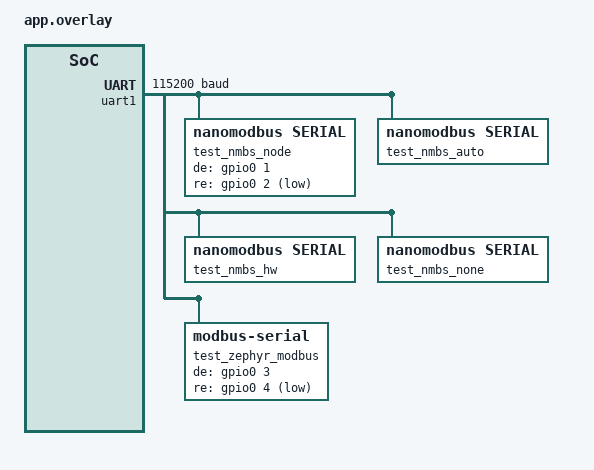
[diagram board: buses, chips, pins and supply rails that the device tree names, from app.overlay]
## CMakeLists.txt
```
cmake_minimum_required(VERSION 3.20.0)
find_package(Zephyr REQUIRED HINTS $ENV{ZEPHYR_BASE})
project(test_nanomodbus_baseline)

target_sources(app PRIVATE
    src/test_build_baseline.c
    src/test_error_mapping.c
    src/test_rs485_timing.c
    src/test_client_concurrency.c
    src/test_server_rtu.c
    src/test_server_tcp.c
    src/test_multi_instance.c
    src/test_nanomodbus_serial.c
    src/test_shell.c
)
```

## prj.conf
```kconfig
CONFIG_ZTEST=y
CONFIG_ZTEST_STACK_SIZE=4096
CONFIG_MAIN_STACK_SIZE=4096
CONFIG_NANOMODBUS=y
CONFIG_NANOMODBUS_CLIENT=y
CONFIG_NANOMODBUS_SERVER=y
CONFIG_NANOMODBUS_SERVER_RTU=y
CONFIG_NANOMODBUS_SERVER_TCP=y
CONFIG_NANOMODBUS_TRANSPORT_SERIAL=y
CONFIG_NANOMODBUS_TRANSPORT_TCP=y
CONFIG_SERIAL=y
CONFIG_GPIO=y
CONFIG_UART_USE_RUNTIME_CONFIGURE=y
CONFIG_UART_INTERRUPT_DRIVEN=y
CONFIG_SYS_CLOCK_TICKS_PER_SEC=10000

CONFIG_NETWORKING=y
CONFIG_NET_TEST=y
CONFIG_NET_DRIVERS=y
CONFIG_NET_LOOPBACK=y
CONFIG_NET_SOCKETS=y
CONFIG_NET_TCP=y
CONFIG_NET_IPV4=y
CONFIG_NET_CONTEXT_RCVTIMEO=y
CONFIG_NET_CONTEXT_SNDTIMEO=y
CONFIG_NET_MAX_CONTEXTS=10
CONFIG_NET_MAX_CONN=10
CONFIG_NET_PKT_RX_COUNT=16
CONFIG_NET_PKT_TX_COUNT=16
CONFIG_NET_BUF_RX_COUNT=64
CONFIG_NET_BUF_TX_COUNT=64
CONFIG_NET_TCP_TIME_WAIT_DELAY=500

CONFIG_SHELL=y
CONFIG_SHELL_BACKEND_DUMMY=y
CONFIG_NANOMODBUS_SHELL=y
CONFIG_NANOMODBUS_SHELL_CLIENT=y
CONFIG_NANOMODBUS_SHELL_SERVER=y
```

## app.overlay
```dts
/*
 * Copyright (c) 2026 nanoMODBUS Contributors
 * SPDX-License-Identifier: MIT
 */

/ {
	aliases {
		modbus-de = &led0;
	};
};

&uart1 {
	status = "okay";
	current-speed = <115200>;

	test_nmbs_node: modbus_test {
		compatible = "nanomodbus,serial";
		status = "okay";
		#address-cells = <1>;
		#size-cells = <0>;
		de-gpios = <&gpio0 1 GPIO_ACTIVE_HIGH>;
		re-gpios = <&gpio0 2 GPIO_ACTIVE_LOW>;
		de-pre-delay-us = <15>;
		de-post-delay-us = <25>;
		de-mode = "gpio";
		rx-mode = "external";
		current-speed = <57600>;

		test_slave_1: slave@1 {
			reg = <1>;
		};

		test_slave_42: slave@2a {
			reg = <0x2a>;
		};
	};

	test_nmbs_auto: modbus_auto {
		compatible = "nanomodbus,serial";
		status = "okay";
		#address-cells = <1>;
		#size-cells = <0>;
		de-mode = "auto";
		rx-mode = "auto";
	};

	test_nmbs_hw: modbus_hw {
		compatible = "nanomodbus,serial";
		status = "okay";
		de-mode = "hardware";
		rx-mode = "irq";
	};

	test_nmbs_none: modbus_none {
		compatible = "nanomodbus,serial";
		status = "okay";
		de-mode = "none";
		rx-mode = "async";
	};

	test_zephyr_modbus: modbus_z {
		compatible = "zephyr,modbus-serial";
		status = "okay";
		de-gpios = <&gpio0 3 GPIO_ACTIVE_HIGH>;
		re-gpios = <&gpio0 4 GPIO_ACTIVE_LOW>;
	};
};
```

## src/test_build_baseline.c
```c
#include <nanomodbus.h>
#include <zephyr/ztest.h>

ZTEST(nanomodbus_baseline, test_module_symbols_available) {
    zassert_true(IS_ENABLED(CONFIG_NANOMODBUS), "CONFIG_NANOMODBUS must be enabled");
    nmbs_error err = NMBS_ERROR_NONE;
    zassert_equal(err, 0, "NMBS_ERROR_NONE must evaluate to 0");
}

ZTEST_SUITE(nanomodbus_baseline, NULL, NULL, NULL, NULL, NULL);
```

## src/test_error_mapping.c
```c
/*
 * Copyright (c) 2026 nanoMODBUS Contributors
 * SPDX-License-Identifier: MIT
 */

#include <errno.h>
#include <nanomodbus.h>
#include <zephyr/nanomodbus/nanomodbus_z.h>
#include <zephyr/ztest.h>

ZTEST(nanomodbus_error, test_error_translation_matrix) {
    /* Success */
    zassert_equal(nmbs_z_error_to_errno(NMBS_ERROR_NONE), 0, "NMBS_ERROR_NONE -> 0");

    /* Internal errors mapped to negative POSIX errno */
    zassert_equal(nmbs_z_error_to_errno(NMBS_ERROR_INVALID_ARGUMENT), -EINVAL, "-1 -> -EINVAL");
    zassert_equal(nmbs_z_error_to_errno(NMBS_ERROR_INVALID_RESPONSE), -EBADMSG, "-2 -> -EBADMSG");
    zassert_equal(nmbs_z_error_to_errno(NMBS_ERROR_TIMEOUT), -ETIMEDOUT, "-3 -> -ETIMEDOUT");
    zassert_equal(nmbs_z_error_to_errno(NMBS_ERROR_TRANSPORT), -EIO, "-4 -> -EIO");
    zassert_equal(nmbs_z_error_to_errno(NMBS_ERROR_CRC), -EBADMSG, "-5 -> -EBADMSG");
    zassert_equal(nmbs_z_error_to_errno(NMBS_ERROR_INVALID_TCP_MBAP), -EPROTO, "-6 -> -EPROTO");
    zassert_equal(nmbs_z_error_to_errno(NMBS_ERROR_INVALID_UNIT_ID), -ENODEV, "-7 -> -ENODEV");
    zassert_equal(nmbs_z_error_to_errno(NMBS_ERROR_INVALID_REQUEST), -EINVAL, "-8 -> -EINVAL");

    /* Modbus Exceptions (positive values) */
    zassert_equal(nmbs_z_error_to_errno(NMBS_EXCEPTION_ILLEGAL_FUNCTION), -ENOSYS, "1 -> -ENOSYS");
    zassert_equal(nmbs_z_error_to_errno(NMBS_EXCEPTION_ILLEGAL_DATA_ADDRESS), -EFAULT, "2 -> -EFAULT");
    zassert_equal(nmbs_z_error_to_errno(NMBS_EXCEPTION_ILLEGAL_DATA_VALUE), -EDOM, "3 -> -EDOM");
    zassert_equal(nmbs_z_error_to_errno(NMBS_EXCEPTION_SERVER_DEVICE_FAILURE), -EIO, "4 -> -EIO");
    zassert_equal(nmbs_z_error_to_errno(NMBS_EXCEPTION_ACKNOWLEDGE), -EAGAIN, "5 -> -EAGAIN");
    zassert_equal(nmbs_z_error_to_errno(NMBS_EXCEPTION_SERVER_DEVICE_BUSY), -EBUSY, "6 -> -EBUSY");
    zassert_equal(nmbs_z_error_to_errno(NMBS_EXCEPTION_MEMORY_PARITY_ERROR), -EBADMSG, "8 -> -EBADMSG");
    zassert_equal(nmbs_z_error_to_errno(NMBS_EXCEPTION_GATEWAY_PATH_UNAVAILABLE), -ENETUNREACH, "10 -> -ENETUNREACH");
    zassert_equal(nmbs_z_error_to_errno(NMBS_EXCEPTION_GATEWAY_TARGET_DEVICE_FAILED_TO_RESPOND), -ETIMEDOUT,
                  "11 -> -ETIMEDOUT");

    /* Reverse mapping: POSIX errno -> nmbs_error */
    zassert_equal(nmbs_z_errno_to_error(0), NMBS_ERROR_NONE, "0 -> NMBS_ERROR_NONE");
    zassert_equal(nmbs_z_errno_to_error(-ENOSYS), NMBS_EXCEPTION_ILLEGAL_FUNCTION, "-ENOSYS -> 1");
    zassert_equal(nmbs_z_errno_to_error(-EFAULT), NMBS_EXCEPTION_ILLEGAL_DATA_ADDRESS, "-EFAULT -> 2");
    zassert_equal(nmbs_z_errno_to_error(-EDOM), NMBS_EXCEPTION_ILLEGAL_DATA_VALUE, "-EDOM -> 3");
    zassert_equal(nmbs_z_errno_to_error(-EIO), NMBS_EXCEPTION_SERVER_DEVICE_FAILURE, "-EIO -> 4");
    zassert_equal(nmbs_z_errno_to_error(-EAGAIN), NMBS_EXCEPTION_ACKNOWLEDGE, "-EAGAIN -> 5");
    zassert_equal(nmbs_z_errno_to_error(-EBUSY), NMBS_EXCEPTION_SERVER_DEVICE_BUSY, "-EBUSY -> 6");
    zassert_equal(nmbs_z_errno_to_error(-EBADMSG), NMBS_EXCEPTION_MEMORY_PARITY_ERROR, "-EBADMSG -> 8");
    zassert_equal(nmbs_z_errno_to_error(-ENETUNREACH), NMBS_EXCEPTION_GATEWAY_PATH_UNAVAILABLE, "-ENETUNREACH -> 10");
    zassert_equal(nmbs_z_errno_to_error(-ETIMEDOUT), NMBS_EXCEPTION_GATEWAY_TARGET_DEVICE_FAILED_TO_RESPOND,
                  "-ETIMEDOUT -> 11");

    /* Test alias errno_to_nmbs_error */
    zassert_equal(errno_to_nmbs_error(-EAGAIN), NMBS_EXCEPTION_ACKNOWLEDGE, "errno_to_nmbs_error -EAGAIN -> 5");
    zassert_equal(errno_to_nmbs_error(-EBUSY), NMBS_EXCEPTION_SERVER_DEVICE_BUSY, "errno_to_nmbs_error -EBUSY -> 6");
    zassert_equal(errno_to_nmbs_error(-EBADMSG), NMBS_EXCEPTION_MEMORY_PARITY_ERROR,
                  "errno_to_nmbs_error -EBADMSG -> 8");
    zassert_equal(errno_to_nmbs_error(-ENETUNREACH), NMBS_EXCEPTION_GATEWAY_PATH_UNAVAILABLE,
                  "errno_to_nmbs_error -ENETUNREACH -> 10");
    zassert_equal(errno_to_nmbs_error(-ETIMEDOUT), NMBS_EXCEPTION_GATEWAY_TARGET_DEVICE_FAILED_TO_RESPOND,
                  "errno_to_nmbs_error -ETIMEDOUT -> 11");

    /* Unknown code fallback */
    zassert_equal(nmbs_z_error_to_errno((nmbs_error) -999), -EPROTO, "unknown -> -EPROTO");
    zassert_equal(nmbs_z_error_to_errno((nmbs_error) 999), -EPROTO, "unknown positive -> -EPROTO");

    /* String representation */
    zassert_not_null(nmbs_z_strerror(NMBS_ERROR_NONE), "strerror must not be NULL");
    zassert_not_null(nmbs_z_strerror(NMBS_ERROR_INVALID_ARGUMENT), "strerror must not be NULL");
    zassert_not_null(nmbs_z_strerror(NMBS_ERROR_INVALID_RESPONSE), "strerror must not be NULL");
    zassert_not_null(nmbs_z_strerror(NMBS_ERROR_TIMEOUT), "strerror must not be NULL");
    zassert_not_null(nmbs_z_strerror(NMBS_ERROR_TRANSPORT), "strerror must not be NULL");
    zassert_not_null(nmbs_z_strerror(NMBS_ERROR_CRC), "strerror must not be NULL");
    zassert_not_null(nmbs_z_strerror(NMBS_ERROR_INVALID_TCP_MBAP), "strerror must not be NULL");
    zassert_not_null(nmbs_z_strerror(NMBS_ERROR_INVALID_UNIT_ID), "strerror must not be NULL");
    zassert_not_null(nmbs_z_strerror(NMBS_ERROR_INVALID_REQUEST), "strerror must not be NULL");
    zassert_not_null(nmbs_z_strerror(NMBS_EXCEPTION_ILLEGAL_FUNCTION), "strerror must not be NULL");
    zassert_not_null(nmbs_z_strerror(NMBS_EXCEPTION_ILLEGAL_DATA_ADDRESS), "strerror must not be NULL");
    zassert_not_null(nmbs_z_strerror(NMBS_EXCEPTION_ILLEGAL_DATA_VALUE), "strerror must not be NULL");
    zassert_not_null(nmbs_z_strerror(NMBS_EXCEPTION_SERVER_DEVICE_FAILURE), "strerror must not be NULL");
    zassert_not_null(nmbs_z_strerror(NMBS_EXCEPTION_ACKNOWLEDGE), "strerror must not be NULL");
    zassert_not_null(nmbs_z_strerror(NMBS_EXCEPTION_SERVER_DEVICE_BUSY), "strerror must not be NULL");
    zassert_not_null(nmbs_z_strerror(NMBS_EXCEPTION_MEMORY_PARITY_ERROR), "strerror must not be NULL");
    zassert_not_null(nmbs_z_strerror(NMBS_EXCEPTION_GATEWAY_PATH_UNAVAILABLE), "strerror must not be NULL");
    zassert_not_null(nmbs_z_strerror(NMBS_EXCEPTION_GATEWAY_TARGET_DEVICE_FAILED_TO_RESPOND),
                     "strerror must not be NULL");
    zassert_not_null(nmbs_z_strerror((nmbs_error) -999), "strerror must not be NULL");
}

ZTEST_SUITE(nanomodbus_error, NULL, NULL, NULL, NULL, NULL);
```

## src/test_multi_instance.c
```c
/*
 * Copyright (c) 2026 nanoMODBUS Contributors
 * SPDX-License-Identifier: MIT
 */

#include <string.h>
#include <zephyr/kernel.h>
#include <zephyr/nanomodbus/nanomodbus_z.h>
#include <zephyr/nanomodbus/nanomodbus_z_tcp.h>
#include <zephyr/net/socket.h>
#include <zephyr/ztest.h>

#define MULTI_INST_REGS_COUNT 16
#define NUM_OPS_PER_THREAD 25
#define TCP_PORT_MULTI 5025

/* Mock RTU Bus context for an isolated client */
typedef struct {
    struct k_mutex lock;
    uint8_t rx_buf[256];
    uint16_t rx_len;
    uint16_t rx_pos;
    uint16_t holding_regs[MULTI_INST_REGS_COUNT];
    uint32_t ops_count;
} mock_rtu_bus_t;

static void mock_bus_append_crc(uint8_t* buf, uint16_t len) {
    uint16_t crc = nmbs_crc_calc(buf, len, NULL);
    buf[len] = (uint8_t) ((crc >> 8) & 0xFF);
    buf[len + 1] = (uint8_t) (crc & 0xFF);
}

static int32_t mock_bus_read(uint8_t* buf, uint16_t count, int32_t byte_timeout_ms, void* arg) {
    ARG_UNUSED(byte_timeout_ms);
    mock_rtu_bus_t* bus = (mock_rtu_bus_t*) arg;

    k_mutex_lock(&bus->lock, K_FOREVER);
    if (bus->rx_pos + count > bus->rx_len) {
        k_mutex_unlock(&bus->lock);
        return 0;
    }

    memcpy(buf, &bus->rx_buf[bus->rx_pos], count);
    bus->rx_pos += count;
    k_mutex_unlock(&bus->lock);
    return count;
}

static int32_t mock_bus_write(const uint8_t* buf, uint16_t count, int32_t byte_timeout_ms, void* arg) {
    ARG_UNUSED(byte_timeout_ms);
    mock_rtu_bus_t* bus = (mock_rtu_bus_t*) arg;

    if (count < 4) {
        return count;
    }

    k_mutex_lock(&bus->lock, K_FOREVER);
    uint8_t unit_id = buf[0];
    uint8_t fc = buf[1];
    bus->rx_pos = 0;
    bus->rx_len = 0;

    if (fc == 0x03) { /* Read Holding Registers */
        uint16_t addr = ((uint16_t) buf[2] << 8) | buf[3];
        uint16_t qty = ((uint16_t) buf[4] << 8) | buf[5];
        uint8_t bytes = (uint8_t) (qty * 2);

        bus->rx_buf[0] = unit_id;
        bus->rx_buf[1] = 0x03;
        bus->rx_buf[2] = bytes;
        for (uint16_t i = 0; i < qty; i++) {
            uint16_t reg_val = 0;
            if (addr + i < MULTI_INST_REGS_COUNT) {
                reg_val = bus->holding_regs[addr + i];
            }
            bus->rx_buf[3 + 2 * i] = (uint8_t) ((reg_val >> 8) & 0xFF);
            bus->rx_buf[4 + 2 * i] = (uint8_t) (reg_val & 0xFF);
        }
        mock_bus_append_crc(bus->rx_buf, 3 + bytes);
        bus->rx_len = 3 + bytes + 2;
        bus->ops_count++;
    }
    else if (fc == 0x06) { /* Write Single Register */
        uint16_t addr = ((uint16_t) buf[2] << 8) | buf[3];
        uint16_t val = ((uint16_t) buf[4] << 8) | buf[5];
        if (addr < MULTI_INST_REGS_COUNT) {
            bus->holding_regs[addr] = val;
        }
        memcpy(bus->rx_buf, buf, 6);
        mock_bus_append_crc(bus->rx_buf, 6);
        bus->rx_len = 8;
        bus->ops_count++;
    }

    k_mutex_unlock(&bus->lock);
    k_yield();
    return count;
}

/* Modbus TCP Server state and callbacks */
static uint16_t tcp_server_holding_regs[MULTI_INST_REGS_COUNT];
static uint32_t tcp_server_ops_count;

static nmbs_error server_tcp_read_holding_registers(uint16_t address, uint16_t quantity, uint16_t* registers_out,
                                                    uint8_t unit_id, void* arg) {
    ARG_UNUSED(unit_id);
    ARG_UNUSED(arg);

    if (address + quantity > MULTI_INST_REGS_COUNT) {
        return NMBS_EXCEPTION_ILLEGAL_DATA_ADDRESS;
    }

    for (uint16_t i = 0; i < quantity; i++) {
        registers_out[i] = tcp_server_holding_regs[address + i];
    }
    tcp_server_ops_count++;
    return NMBS_ERROR_NONE;
}

static nmbs_error server_tcp_write_single_register(uint16_t address, uint16_t value, uint8_t unit_id, void* arg) {
    ARG_UNUSED(unit_id);
    ARG_UNUSED(arg);

    if (address >= MULTI_INST_REGS_COUNT) {
        return NMBS_EXCEPTION_ILLEGAL_DATA_ADDRESS;
    }

    tcp_server_holding_regs[address] = value;
    tcp_server_ops_count++;
    return NMBS_ERROR_NONE;
}

/* Multi-instance test contexts */
static mock_rtu_bus_t bus1;
static mock_rtu_bus_t bus2;
static nmbs_z_client_t client1;
static nmbs_z_client_t client2;
static nmbs_z_client_t client3;
static nmbs_z_tcp_transport_t transport3;
static nmbs_z_server_tcp_t server_tcp;

static struct k_sem start_sem;
static uint32_t thread_a_success;
static uint32_t thread_b_success;
static uint32_t thread_c_success;
static uint32_t thread_a_errors;
static uint32_t thread_b_errors;
static uint32_t thread_c_errors;

static K_THREAD_STACK_DEFINE(stack_a, 2048);
static K_THREAD_STACK_DEFINE(stack_b, 2048);
static K_THREAD_STACK_DEFINE(stack_c, 2048);
static struct k_thread thread_a;
static struct k_thread thread_b;
static struct k_thread thread_c;

static void thread_a_fn(void* arg1, void* arg2, void* arg3) {
    ARG_UNUSED(arg1);
    ARG_UNUSED(arg2);
    ARG_UNUSED(arg3);

    k_sem_take(&start_sem, K_FOREVER);

    for (int i = 0; i < NUM_OPS_PER_THREAD; i++) {
        uint16_t regs[2] = {0};
        int ret = nmbs_z_client_read_holding_registers(&client1, 0, 2, regs, K_MSEC(500));
        if (ret != 0) {
            thread_a_errors++;
            continue;
        }

        ret = nmbs_z_client_write_single_register(&client1, 0, (uint16_t) (1000 + i), K_MSEC(500));
        if (ret != 0) {
            thread_a_errors++;
            continue;
        }

        ret = nmbs_z_client_read_holding_registers(&client1, 0, 1, regs, K_MSEC(500));
        if (ret != 0 || regs[0] != (uint16_t) (1000 + i)) {
            thread_a_errors++;
            continue;
        }

        thread_a_success++;
        k_sleep(K_MSEC(1));
    }
}

static void thread_b_fn(void* arg1, void* arg2, void* arg3) {
    ARG_UNUSED(arg1);
    ARG_UNUSED(arg2);
    ARG_UNUSED(arg3);

    k_sem_take(&start_sem, K_FOREVER);

    for (int i = 0; i < NUM_OPS_PER_THREAD; i++) {
        uint16_t regs[2] = {0};
        int ret = nmbs_z_client_read_holding_registers(&client2, 0, 2, regs, K_MSEC(500));
        if (ret != 0) {
            thread_b_errors++;
            continue;
        }

        ret = nmbs_z_client_write_single_register(&client2, 0, (uint16_t) (2000 + i), K_MSEC(500));
        if (ret != 0) {
            thread_b_errors++;
            continue;
        }

        ret = nmbs_z_client_read_holding_registers(&client2, 0, 1, regs, K_MSEC(500));
        if (ret != 0 || regs[0] != (uint16_t) (2000 + i)) {
            thread_b_errors++;
            continue;
        }

        thread_b_success++;
        k_sleep(K_MSEC(1));
    }
}

static void thread_c_fn(void* arg1, void* arg2, void* arg3) {
    ARG_UNUSED(arg1);
    ARG_UNUSED(arg2);
    ARG_UNUSED(arg3);

    k_sem_take(&start_sem, K_FOREVER);

    for (int i = 0; i < NUM_OPS_PER_THREAD; i++) {
        uint16_t regs[2] = {0};
        int ret = nmbs_z_client_read_holding_registers(&client3, 0, 2, regs, K_MSEC(1000));
        if (ret != 0) {
            thread_c_errors++;
            continue;
        }

        ret = nmbs_z_client_write_single_register(&client3, 0, (uint16_t) (5000 + i), K_MSEC(1000));
        if (ret != 0) {
            thread_c_errors++;
            continue;
        }

        ret = nmbs_z_client_read_holding_registers(&client3, 0, 1, regs, K_MSEC(1000));
        if (ret != 0 || regs[0] != (uint16_t) (5000 + i)) {
            thread_c_errors++;
            continue;
        }

        thread_c_success++;
        k_sleep(K_MSEC(1));
    }
}

/* Concurrency & Multi-Instance Unit Test (Review Focus 5) */
ZTEST(nanomodbus_multi_instance, test_concurrent_multi_instances) {
    /* 1. Initialize Bus 1 and Client 1 */
    memset(&bus1, 0, sizeof(bus1));
    k_mutex_init(&bus1.lock);
    for (int i = 0; i < MULTI_INST_REGS_COUNT; i++) {
        bus1.holding_regs[i] = (uint16_t) (1000 + i);
    }

    nmbs_platform_conf plat1;
    nmbs_platform_conf_create(&plat1);
    plat1.transport = NMBS_TRANSPORT_RTU;
    plat1.read = mock_bus_read;
    plat1.write = mock_bus_write;
    plat1.arg = &bus1;

    int ret = nmbs_z_client_init(&client1, &plat1);
    zassert_equal(ret, 0, "Client 1 init failed: %d", ret);
    ret = nmbs_z_client_set_target_address(&client1, 1, K_MSEC(100));
    zassert_equal(ret, 0, "Client 1 set target address failed: %d", ret);

    /* 2. Initialize Bus 2 and Client 2 */
    memset(&bus2, 0, sizeof(bus2));
    k_mutex_init(&bus2.lock);
    for (int i = 0; i < MULTI_INST_REGS_COUNT; i++) {
        bus2.holding_regs[i] = (uint16_t) (2000 + i);
    }

    nmbs_platform_conf plat2;
    nmbs_platform_conf_create(&plat2);
    plat2.transport = NMBS_TRANSPORT_RTU;
    plat2.read = mock_bus_read;
    plat2.write = mock_bus_write;
    plat2.arg = &bus2;

    ret = nmbs_z_client_init(&client2, &plat2);
    zassert_equal(ret, 0, "Client 2 init failed: %d", ret);
    ret = nmbs_z_client_set_target_address(&client2, 2, K_MSEC(100));
    zassert_equal(ret, 0, "Client 2 set target address failed: %d", ret);

    /* 3. Initialize TCP Server on loopback port 5025 */
    memset(tcp_server_holding_regs, 0, sizeof(tcp_server_holding_regs));
    for (int i = 0; i < MULTI_INST_REGS_COUNT; i++) {
        tcp_server_holding_regs[i] = (uint16_t) (5000 + i);
    }
    tcp_server_ops_count = 0;

    nmbs_callbacks tcp_cbs = {0};
    tcp_cbs.read_holding_registers = server_tcp_read_holding_registers;
    tcp_cbs.write_single_register = server_tcp_write_single_register;

    ret = nmbs_z_server_tcp_start(&server_tcp, &tcp_cbs, TCP_PORT_MULTI);
    zassert_equal(ret, 0, "TCP Server start on %d failed: %d", TCP_PORT_MULTI, ret);

    /* 4. Connect TCP Client 3 to loopback server */
    nmbs_platform_conf plat3;
    ret = nmbs_z_tcp_transport_connect(&transport3, "127.0.0.1", TCP_PORT_MULTI, 2000, &plat3);
    zassert_equal(ret, 0, "TCP Client 3 connect failed: %d", ret);

    ret = nmbs_z_client_init(&client3, &plat3);
    zassert_equal(ret, 0, "Client 3 init failed: %d", ret);

    /* 5. Start all 3 threads simultaneously */
    thread_a_success = 0;
    thread_b_success = 0;
    thread_c_success = 0;
    thread_a_errors = 0;
    thread_b_errors = 0;
    thread_c_errors = 0;

    k_sem_init(&start_sem, 0, 3);

    k_thread_create(&thread_a, stack_a, K_THREAD_STACK_SIZEOF(stack_a), thread_a_fn, NULL, NULL, NULL, 5, 0, K_NO_WAIT);
    k_thread_create(&thread_b, stack_b, K_THREAD_STACK_SIZEOF(stack_b), thread_b_fn, NULL, NULL, NULL, 5, 0, K_NO_WAIT);
    k_thread_create(&thread_c, stack_c, K_THREAD_STACK_SIZEOF(stack_c), thread_c_fn, NULL, NULL, NULL, 5, 0, K_NO_WAIT);

    /* Release all threads to run concurrently */
    k_sem_give(&start_sem);
    k_sem_give(&start_sem);
    k_sem_give(&start_sem);

    /* Wait for all 3 threads to complete */
    k_thread_join(&thread_a, K_FOREVER);
    k_thread_join(&thread_b, K_FOREVER);
    k_thread_join(&thread_c, K_FOREVER);

    /* 6. Assertions: 100% success across all 3 instances */
    zassert_equal(thread_a_errors, 0, "Thread A had %u errors", thread_a_errors);
    zassert_equal(thread_a_success, NUM_OPS_PER_THREAD, "Thread A completed %u/%u ops", thread_a_success,
                  NUM_OPS_PER_THREAD);

    zassert_equal(thread_b_errors, 0, "Thread B had %u errors", thread_b_errors);
    zassert_equal(thread_b_success, NUM_OPS_PER_THREAD, "Thread B completed %u/%u ops", thread_b_success,
                  NUM_OPS_PER_THREAD);

    zassert_equal(thread_c_errors, 0, "Thread C had %u errors", thread_c_errors);
    zassert_equal(thread_c_success, NUM_OPS_PER_THREAD, "Thread C completed %u/%u ops", thread_c_success,
                  NUM_OPS_PER_THREAD);

    /* 7. Zero memory corruption and zero cross-contamination */
    /* Bus 1 holding registers: reg 0 written to 1000 + NUM_OPS - 1, regs 1..15 untouched */
    zassert_equal(bus1.holding_regs[0], (uint16_t) (1000 + NUM_OPS_PER_THREAD - 1), "Bus 1 corrupted: reg 0 is %u",
                  bus1.holding_regs[0]);
    for (int i = 1; i < MULTI_INST_REGS_COUNT; i++) {
        zassert_equal(bus1.holding_regs[i], (uint16_t) (1000 + i), "Bus 1 corrupted: reg %d is %u", i,
                      bus1.holding_regs[i]);
    }

    /* Bus 2 holding registers: reg 0 written to 2000 + NUM_OPS - 1, regs 1..15 untouched */
    zassert_equal(bus2.holding_regs[0], (uint16_t) (2000 + NUM_OPS_PER_THREAD - 1), "Bus 2 corrupted: reg 0 is %u",
                  bus2.holding_regs[0]);
    for (int i = 1; i < MULTI_INST_REGS_COUNT; i++) {
        zassert_equal(bus2.holding_regs[i], (uint16_t) (2000 + i), "Bus 2 corrupted: reg %d is %u", i,
                      bus2.holding_regs[i]);
    }

    /* TCP Server registers: reg 0 written to 5000 + NUM_OPS - 1, regs 1..15 untouched */
    zassert_equal(tcp_server_holding_regs[0], (uint16_t) (5000 + NUM_OPS_PER_THREAD - 1),
                  "TCP Server corrupted: reg 0 is %u", tcp_server_holding_regs[0]);
    for (int i = 1; i < MULTI_INST_REGS_COUNT; i++) {
        zassert_equal(tcp_server_holding_regs[i], (uint16_t) (5000 + i), "TCP Server corrupted: reg %d is %u", i,
                      tcp_server_holding_regs[i]);
    }

    /* Verify independent mutex states */
    zassert_equal(k_mutex_lock(&client1.lock, K_NO_WAIT), 0, "Client 1 lock not free");
    k_mutex_unlock(&client1.lock);

    zassert_equal(k_mutex_lock(&client2.lock, K_NO_WAIT), 0, "Client 2 lock not free");
    k_mutex_unlock(&client2.lock);

    zassert_equal(k_mutex_lock(&client3.lock, K_NO_WAIT), 0, "Client 3 lock not free");
    k_mutex_unlock(&client3.lock);

    /* 8. Clean shutdown */
    ret = nmbs_z_tcp_transport_close(&transport3);
    zassert_equal(ret, 0, "Transport 3 close failed: %d", ret);

    ret = nmbs_z_server_tcp_stop(&server_tcp);
    zassert_equal(ret, 0, "Server TCP stop failed: %d", ret);
}

ZTEST_SUITE(nanomodbus_multi_instance, NULL, NULL, NULL, NULL, NULL);
```

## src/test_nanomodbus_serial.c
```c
/*
 * Copyright (c) 2026 nanoMODBUS Contributors
 * SPDX-License-Identifier: MIT
 */

#include <errno.h>
#include <string.h>
#include <zephyr/drivers/gpio.h>
#include <zephyr/drivers/uart.h>
#include <zephyr/nanomodbus/nanomodbus_z_serial.h>
#include <zephyr/ztest.h>

/* State tracking for GPIO and UART mock */
static struct {
    int de_val;
    int re_val;
    uint32_t de_set_count;
    uint32_t re_set_count;
    uint32_t bytes_written;
    bool de_asserted_during_tx;
    bool re_disabled_during_tx;
    struct uart_config uart_cfg;
    uint32_t configure_calls;
    bool rx_enabled;
    uart_irq_callback_user_data_t irq_cb;
    void* irq_cb_user_data;
} mock_re_tracker;

static void reset_mock_re_tracker(void) {
    memset(&mock_re_tracker, 0, sizeof(mock_re_tracker));
    mock_re_tracker.de_asserted_during_tx = true;
    mock_re_tracker.re_disabled_during_tx = true;
    mock_re_tracker.uart_cfg.baudrate = 115200;
    mock_re_tracker.uart_cfg.parity = UART_CFG_PARITY_NONE;
    mock_re_tracker.uart_cfg.stop_bits = UART_CFG_STOP_BITS_1;
    mock_re_tracker.uart_cfg.data_bits = UART_CFG_DATA_BITS_8;
    mock_re_tracker.uart_cfg.flow_ctrl = UART_CFG_FLOW_CTRL_NONE;
}

static struct gpio_driver_config mock_re_gpio_cfg = {
        .port_pin_mask = (gpio_port_pins_t) 0xFFFFFFFF,
};
static struct gpio_driver_data mock_re_gpio_data = {
        .invert = 0,
};

static int mock_re_gpio_pin_configure(const struct device* port, gpio_pin_t pin, gpio_flags_t flags) {
    ARG_UNUSED(port);
    if (flags & GPIO_OUTPUT_INIT_HIGH) {
        if (pin == 1) {
            mock_re_tracker.de_val = 1;
        }
        else if (pin == 2) {
            mock_re_tracker.re_val = 1;
        }
    }
    else if (flags & GPIO_OUTPUT_INIT_LOW) {
        if (pin == 1) {
            mock_re_tracker.de_val = 0;
        }
        else if (pin == 2) {
            mock_re_tracker.re_val = 0;
        }
    }
    return 0;
}

static int mock_re_gpio_port_set_masked_raw(const struct device* port, gpio_port_pins_t mask, gpio_port_value_t value) {
    ARG_UNUSED(port);
    if (mask & BIT(1)) {
        mock_re_tracker.de_val = (value & BIT(1)) ? 1 : 0;
        mock_re_tracker.de_set_count++;
    }
    if (mask & BIT(2)) {
        mock_re_tracker.re_val = (value & BIT(2)) ? 1 : 0;
        mock_re_tracker.re_set_count++;
    }
    return 0;
}

static int mock_re_gpio_port_set_bits_raw(const struct device* port, gpio_port_pins_t pins) {
    return mock_re_gpio_port_set_masked_raw(port, pins, pins);
}

static int mock_re_gpio_port_clear_bits_raw(const struct device* port, gpio_port_pins_t pins) {
    return mock_re_gpio_port_set_masked_raw(port, pins, 0);
}

static DEVICE_API(gpio, mock_re_gpio_api) = {
        .pin_configure = mock_re_gpio_pin_configure,
        .port_set_masked_raw = mock_re_gpio_port_set_masked_raw,
        .port_set_bits_raw = mock_re_gpio_port_set_bits_raw,
        .port_clear_bits_raw = mock_re_gpio_port_clear_bits_raw,
};

static int mock_re_gpio_init(const struct device* dev) {
    ARG_UNUSED(dev);
    return 0;
}

DEVICE_DEFINE(mock_re_gpio_dev, "mock_re_gpio", mock_re_gpio_init, NULL, &mock_re_gpio_data, &mock_re_gpio_cfg,
              POST_KERNEL, CONFIG_KERNEL_INIT_PRIORITY_DEVICE, &mock_re_gpio_api);

static void mock_re_uart_poll_out(const struct device* dev, unsigned char out_char) {
    ARG_UNUSED(dev);
    ARG_UNUSED(out_char);
    if (mock_re_tracker.de_val != 1) {
        mock_re_tracker.de_asserted_during_tx = false;
    }
    if (mock_re_tracker.re_val != 0) {
        mock_re_tracker.re_disabled_during_tx = false;
    }
    mock_re_tracker.bytes_written++;
}

static int mock_re_uart_config_get(const struct device* dev, struct uart_config* cfg) {
    ARG_UNUSED(dev);
    *cfg = mock_re_tracker.uart_cfg;
    return 0;
}

static int mock_re_uart_configure(const struct device* dev, const struct uart_config* cfg) {
    ARG_UNUSED(dev);
    mock_re_tracker.uart_cfg = *cfg;
    mock_re_tracker.configure_calls++;
    return 0;
}

#if defined(CONFIG_UART_INTERRUPT_DRIVEN)
static void mock_re_uart_irq_callback_set(const struct device* dev, uart_irq_callback_user_data_t cb, void* user_data) {
    ARG_UNUSED(dev);
    mock_re_tracker.irq_cb = cb;
    mock_re_tracker.irq_cb_user_data = user_data;
}

static void mock_re_uart_irq_rx_enable(const struct device* dev) {
    ARG_UNUSED(dev);
    mock_re_tracker.rx_enabled = true;
}

static void mock_re_uart_irq_rx_disable(const struct device* dev) {
    ARG_UNUSED(dev);
    mock_re_tracker.rx_enabled = false;
}
#endif

static DEVICE_API(uart, mock_re_uart_api) = {
        .poll_out = mock_re_uart_poll_out,
        .config_get = mock_re_uart_config_get,
        .configure = mock_re_uart_configure,
#if defined(CONFIG_UART_INTERRUPT_DRIVEN)
        .irq_callback_set = mock_re_uart_irq_callback_set,
        .irq_rx_enable = mock_re_uart_irq_rx_enable,
        .irq_rx_disable = mock_re_uart_irq_rx_disable,
#endif
};

static int mock_re_uart_init(const struct device* dev) {
    ARG_UNUSED(dev);
    return 0;
}

DEVICE_DEFINE(mock_re_uart_dev, "mock_re_uart", mock_re_uart_init, NULL, NULL, NULL, POST_KERNEL,
              CONFIG_KERNEL_INIT_PRIORITY_DEVICE, &mock_re_uart_api);

/* Devicetree macro tests */

ZTEST(nanomodbus_serial, test_dt_config_nanomodbus_serial) {
    nmbs_z_serial_transport_config_t cfg = NMBS_Z_SERIAL_TRANSPORT_CONFIG_DT(DT_NODELABEL(test_nmbs_node));

    zassert_equal(cfg.uart_dev, DEVICE_DT_GET(DT_NODELABEL(uart1)), "UART device handle mismatch");
    zassert_equal(cfg.baud_rate, 57600, "Baud rate mismatch");
    zassert_equal(cfg.de_pre_delay_us, 15, "DE pre delay mismatch");
    zassert_equal(cfg.de_post_delay_us, 25, "DE post delay mismatch");
    zassert_equal(cfg.de_mode, NMBS_Z_SERIAL_DE_GPIO, "DE mode mismatch");
    zassert_equal(cfg.rx_mode, NMBS_Z_SERIAL_RX_EXTERNAL, "RX mode mismatch");
    zassert_equal(cfg.de_gpio.pin, 1, "DE GPIO pin mismatch");
    zassert_equal(cfg.re_gpio.pin, 2, "RE GPIO pin mismatch");
    zassert_equal(cfg.parity, UART_CFG_PARITY_NONE, "Parity mismatch");
    zassert_equal(cfg.stop_bits, UART_CFG_STOP_BITS_1, "Stop bits mismatch");
    zassert_equal(cfg.data_bits, UART_CFG_DATA_BITS_8, "Data bits mismatch");
    zassert_is_null(cfg.rx_cb, "rx_cb must be NULL");
}

ZTEST(nanomodbus_serial, test_dt_config_auto_and_defaults) {
    nmbs_z_serial_transport_config_t cfg = NMBS_Z_SERIAL_TRANSPORT_CONFIG_DT(DT_NODELABEL(test_nmbs_auto));

    zassert_equal(cfg.uart_dev, DEVICE_DT_GET(DT_NODELABEL(uart1)), "UART device handle mismatch");
    zassert_equal(cfg.baud_rate, 115200, "Baud rate inherited from parent UART mismatch");
    zassert_equal(cfg.de_mode, NMBS_Z_SERIAL_DE_AUTO, "DE mode must default to AUTO");
    zassert_equal(cfg.de_pre_delay_us, 0, "Default DE pre delay must be 0");
    zassert_equal(cfg.de_post_delay_us, 0, "Default DE post delay must be 0");
    zassert_is_null(cfg.de_gpio.port, "DE GPIO port must be NULL when not configured");
    zassert_is_null(cfg.re_gpio.port, "RE GPIO port must be NULL when not configured");
}

ZTEST(nanomodbus_serial, test_dt_config_enum_modes) {
    nmbs_z_serial_transport_config_t cfg_hw = NMBS_Z_SERIAL_TRANSPORT_CONFIG_DT(DT_NODELABEL(test_nmbs_hw));
    zassert_equal(cfg_hw.de_mode, NMBS_Z_SERIAL_DE_HARDWARE, "HARDWARE DE mode mismatch");
    zassert_equal(cfg_hw.rx_mode, NMBS_Z_SERIAL_RX_IRQ, "IRQ RX mode mismatch");

    nmbs_z_serial_transport_config_t cfg_none = NMBS_Z_SERIAL_TRANSPORT_CONFIG_DT(DT_NODELABEL(test_nmbs_none));
    zassert_equal(cfg_none.de_mode, NMBS_Z_SERIAL_DE_NONE, "NONE DE mode mismatch");
    zassert_equal(cfg_none.rx_mode, NMBS_Z_SERIAL_RX_ASYNC, "ASYNC RX mode mismatch");
}

ZTEST(nanomodbus_serial, test_dt_config_zephyr_modbus_compat) {
    nmbs_z_serial_transport_config_t cfg = NMBS_Z_SERIAL_TRANSPORT_CONFIG_DT(DT_NODELABEL(test_zephyr_modbus));

    zassert_equal(cfg.uart_dev, DEVICE_DT_GET(DT_NODELABEL(uart1)), "UART dev mismatch");
    zassert_equal(cfg.de_gpio.pin, 3, "zephyr,modbus-serial DE pin mismatch");
    zassert_equal(cfg.re_gpio.pin, 4, "zephyr,modbus-serial RE pin mismatch");
    zassert_equal(cfg.de_mode, NMBS_Z_SERIAL_DE_AUTO, "Default DE mode for zephyr,modbus-serial");
    zassert_equal(cfg.baud_rate, 115200, "Parent baud rate inherited");
}

ZTEST(nanomodbus_serial, test_dt_config_inst_macro) {
    nmbs_z_serial_transport_config_t cfg = NMBS_Z_SERIAL_TRANSPORT_CONFIG_DT_INST(0);
    zassert_not_null(cfg.uart_dev, "Instance 0 UART device handle must not be NULL");
}

ZTEST(nanomodbus_serial, test_dt_slave_id_macro) {
    uint8_t slave_1 = NMBS_Z_DT_SLAVE_ID(DT_NODELABEL(test_slave_1));
    zassert_equal(slave_1, 1, "Slave 1 ID mismatch");

    uint8_t slave_42 = NMBS_Z_DT_SLAVE_ID(DT_NODELABEL(test_slave_42));
    zassert_equal(slave_42, 0x2a, "Slave 42 ID mismatch");
}

/* Runtime RE GPIO control tests */

ZTEST(nanomodbus_serial, test_rs485_re_gpio_runtime_control) {
    reset_mock_re_tracker();

    nmbs_z_serial_transport_t transport;
    nmbs_z_serial_transport_config_t cfg = {
            .uart_dev = DEVICE_GET(mock_re_uart_dev),
            .de_gpio =
                    {
                            .port = DEVICE_GET(mock_re_gpio_dev),
                            .pin = 1,
                            .dt_flags = GPIO_ACTIVE_HIGH,
                    },
            .re_gpio =
                    {
                            .port = DEVICE_GET(mock_re_gpio_dev),
                            .pin = 2,
                            .dt_flags = GPIO_ACTIVE_HIGH,
                    },
            .baud_rate = 115200,
            .de_pre_delay_us = 10,
            .de_post_delay_us = 10,
            .de_mode = NMBS_Z_SERIAL_DE_GPIO,
            .rx_mode = NMBS_Z_SERIAL_RX_EXTERNAL,
    };
    nmbs_platform_conf p_conf;

    int ret = nmbs_z_serial_transport_init(&transport, &cfg, &p_conf);
    zassert_equal(ret, 0, "transport init must succeed");
    zassert_true(transport.de_gpio, "transport.de_gpio must be true");
    zassert_true(transport.re_gpio, "transport.re_gpio must be true");

    /* During init: RE pin must be configured as ACTIVE (1) so receiver is enabled */
    zassert_equal(mock_re_tracker.re_val, 1, "RE pin must be ACTIVE after init");

    /* Transmit payload */
    uint8_t payload[] = {0x01, 0x03, 0x00, 0x00, 0x00, 0x01, 0x84, 0x0A};
    int32_t written = p_conf.write(payload, sizeof(payload), 1000, &transport);
    zassert_equal(written, sizeof(payload), "All bytes written");

    /* Verification: during transmission DE was asserted (1) and RE was disabled (0) */
    zassert_true(mock_re_tracker.de_asserted_during_tx, "DE must be high during TX");
    zassert_true(mock_re_tracker.re_disabled_during_tx, "RE must be disabled (0) during TX");

    /* After transmission finishes: DE is deasserted (0) and RE is re-enabled (1) */
    zassert_equal(mock_re_tracker.de_val, 0, "DE must be 0 after write");
    zassert_equal(mock_re_tracker.re_val, 1, "RE must be 1 after write");

    /* Deinit: RE remains or is restored to 1 */
    nmbs_z_serial_transport_deinit(&transport);
    zassert_equal(mock_re_tracker.re_val, 1, "RE must be 1 after deinit");
}

ZTEST(nanomodbus_serial, test_rs485_hw_de_ignores_re_gpio) {
    reset_mock_re_tracker();

    nmbs_z_serial_transport_t transport;
    nmbs_z_serial_transport_config_t cfg = {
            .uart_dev = DEVICE_GET(mock_re_uart_dev),
            .de_gpio =
                    {
                            .port = DEVICE_GET(mock_re_gpio_dev),
                            .pin = 1,
                            .dt_flags = GPIO_ACTIVE_HIGH,
                    },
            .re_gpio =
                    {
                            .port = DEVICE_GET(mock_re_gpio_dev),
                            .pin = 2,
                            .dt_flags = GPIO_ACTIVE_HIGH,
                    },
            .baud_rate = 115200,
            .de_mode = NMBS_Z_SERIAL_DE_HARDWARE,
            .rx_mode = NMBS_Z_SERIAL_RX_EXTERNAL,
    };
    nmbs_platform_conf p_conf;

    /* 1. Since mock_re_uart does not report RS485 flow control, DE_HARDWARE returns -ENOTSUP */
    int ret = nmbs_z_serial_transport_init(&transport, &cfg, &p_conf);
    zassert_equal(ret, -ENOTSUP, "Init with DE_HARDWARE on non-RS485 UART returns -ENOTSUP");
    zassert_false(transport.re_gpio, "transport.re_gpio must remain false");
    zassert_false(transport.de_gpio, "transport.de_gpio must remain false");

    /* 2. Pure DE_HARDWARE with UART reporting UART_CFG_FLOW_CTRL_RS485:
     * neither de_gpio nor re_gpio is touched.
     */
    reset_mock_re_tracker();
    mock_re_tracker.uart_cfg.flow_ctrl = UART_CFG_FLOW_CTRL_RS485;
    mock_re_tracker.de_val = -1;
    mock_re_tracker.re_val = -1;

    ret = nmbs_z_serial_transport_init(&transport, &cfg, &p_conf);
    zassert_equal(ret, 0, "Init with DE_HARDWARE on RS485 UART must succeed");
    zassert_true(transport.de_hw, "transport.de_hw must be true");
    zassert_false(transport.de_gpio, "transport.de_gpio must be false in pure DE_HARDWARE");
    zassert_false(transport.re_gpio, "transport.re_gpio must be false in pure DE_HARDWARE");
    zassert_equal(mock_re_tracker.de_val, -1, "DE GPIO must not be configured in DE_HARDWARE");
    zassert_equal(mock_re_tracker.re_val, -1, "RE GPIO must not be configured in DE_HARDWARE");

    uint8_t payload[] = {0x01, 0x03};
    int32_t written = p_conf.write(payload, sizeof(payload), 1000, &transport);
    zassert_equal(written, sizeof(payload), "Write must succeed");
    zassert_equal(mock_re_tracker.de_set_count, 0, "DE GPIO must not be toggled in DE_HARDWARE");
    zassert_equal(mock_re_tracker.re_set_count, 0, "RE GPIO must not be toggled in DE_HARDWARE");
    nmbs_z_serial_transport_deinit(&transport);

    /* 3. Hybrid DE_AUTO with UART reporting UART_CFG_FLOW_CTRL_RS485 and re_gpio provided:
     * de_hw == true, de_gpio == false, re_gpio == true, and re_gpio toggles during write.
     */
    reset_mock_re_tracker();
    mock_re_tracker.uart_cfg.flow_ctrl = UART_CFG_FLOW_CTRL_RS485;
    mock_re_tracker.de_val = -1;
    mock_re_tracker.re_val = -1;
    cfg.de_mode = NMBS_Z_SERIAL_DE_AUTO;
    cfg.de_pre_delay_us = 10;
    cfg.de_post_delay_us = 10;

    ret = nmbs_z_serial_transport_init(&transport, &cfg, &p_conf);
    zassert_equal(ret, 0, "Init with DE_AUTO on RS485 UART must succeed");
    zassert_true(transport.de_hw, "transport.de_hw must be true in hybrid DE_AUTO");
    zassert_false(transport.de_gpio, "transport.de_gpio must be false in hybrid DE_AUTO");
    zassert_true(transport.re_gpio, "transport.re_gpio must be true in hybrid DE_AUTO");
    zassert_equal(mock_re_tracker.de_val, -1, "DE GPIO must not be configured in hybrid DE_AUTO");
    zassert_equal(mock_re_tracker.re_val, 1, "RE GPIO must be configured ACTIVE in hybrid DE_AUTO");

    written = p_conf.write(payload, sizeof(payload), 1000, &transport);
    zassert_equal(written, sizeof(payload), "Write must succeed");
    zassert_equal(mock_re_tracker.de_set_count, 0, "DE GPIO must not be toggled in hybrid DE_AUTO");
    zassert_true(mock_re_tracker.re_disabled_during_tx, "RE GPIO must be disabled (0) during TX in hybrid DE_AUTO");
    zassert_equal(mock_re_tracker.re_val, 1, "RE GPIO must be restored to 1 after TX in hybrid DE_AUTO");
    zassert_equal(mock_re_tracker.re_set_count, 2, "RE GPIO must be toggled twice during write");
    nmbs_z_serial_transport_deinit(&transport);
}

ZTEST(nanomodbus_serial, test_serial_transport_reconfigure) {
    reset_mock_re_tracker();

    nmbs_z_serial_transport_t transport;
    nmbs_z_serial_transport_config_t cfg = {
            .uart_dev = DEVICE_GET(mock_re_uart_dev),
            .baud_rate = 9600,
            .parity = UART_CFG_PARITY_NONE,
            .stop_bits = UART_CFG_STOP_BITS_1,
            .data_bits = UART_CFG_DATA_BITS_8,
            .de_mode = NMBS_Z_SERIAL_DE_NONE,
            .rx_mode = NMBS_Z_SERIAL_RX_EXTERNAL,
    };
    nmbs_platform_conf p_conf;

    int ret = nmbs_z_serial_transport_init(&transport, &cfg, &p_conf);
    zassert_equal(ret, 0, "transport init must succeed");

    /* Initial timing check for 9600 baud:
     * t1.5 = 16500000 / 9600 = 1718 us
     * t3.5 = 38500000 / 9600 = 4010 us
     */
    zassert_equal(transport.t1_5_us, 1718, "Initial t1.5 mismatch for 9600 bps");
    zassert_equal(transport.t3_5_us, 4010, "Initial t3.5 mismatch for 9600 bps");
    zassert_equal(transport.cfg.baud_rate, 9600, "Initial baud rate mismatch");
    zassert_equal(atomic_get(&transport.rx_active), 0, "rx_active must be 0 for EXTERNAL mode");

    /* Parameter validation */
    zassert_equal(nmbs_z_serial_transport_reconfigure(NULL, NULL), -EINVAL, "NULL transport");
    struct uart_config invalid_cfg = {
            .baudrate = 0,
            .parity = UART_CFG_PARITY_NONE,
            .stop_bits = UART_CFG_STOP_BITS_1,
            .data_bits = UART_CFG_DATA_BITS_8,
    };
    zassert_equal(nmbs_z_serial_transport_reconfigure(&transport, &invalid_cfg), -EINVAL, "Zero baudrate must fail");

    /* Reconfigure with NULL uart_cfg: keeps current line settings */
    ret = nmbs_z_serial_transport_reconfigure(&transport, NULL);
    zassert_equal(ret, 0, "NULL uart_cfg reconfigure must succeed");
    zassert_equal(transport.cfg.baud_rate, 9600, "Baudrate preserved with NULL uart_cfg");

    /* Reconfigure to 19200 bps, Even parity, 2 stop bits, 8 data bits */
    struct uart_config new_cfg_19200 = {
            .baudrate = 19200,
            .parity = UART_CFG_PARITY_EVEN,
            .stop_bits = UART_CFG_STOP_BITS_2,
            .data_bits = UART_CFG_DATA_BITS_8,
    };
    ret = nmbs_z_serial_transport_reconfigure(&transport, &new_cfg_19200);
    zassert_equal(ret, 0, "Reconfigure to 19200 must succeed");

    /* Verify line settings in transport config and mock UART */
    zassert_equal(transport.cfg.baud_rate, 19200, "Transport baud rate not updated");
    zassert_equal(transport.cfg.parity, UART_CFG_PARITY_EVEN, "Transport parity not updated");
    zassert_equal(transport.cfg.stop_bits, UART_CFG_STOP_BITS_2, "Transport stop bits not updated");
    zassert_equal(transport.cfg.data_bits, UART_CFG_DATA_BITS_8, "Transport data bits not updated");
    zassert_equal(mock_re_tracker.uart_cfg.baudrate, 19200, "Hardware UART baudrate not updated");
    zassert_equal(mock_re_tracker.uart_cfg.parity, UART_CFG_PARITY_EVEN, "Hardware UART parity not updated");
    zassert_equal(mock_re_tracker.uart_cfg.stop_bits, UART_CFG_STOP_BITS_2, "Hardware UART stop bits not updated");

    /* Verify recalculated timings for 19200 bps:
     * t1.5 = 16500000 / 19200 = 859 us
     * t3.5 = 38500000 / 19200 = 2005 us
     */
    zassert_equal(transport.t1_5_us, 859, "Recalculated t1.5 mismatch for 19200 bps");
    zassert_equal(transport.t3_5_us, 2005, "Recalculated t3.5 mismatch for 19200 bps");

    /* Verify RX state is preserved across reconfigure (inactive remains inactive) */
    zassert_equal(atomic_get(&transport.rx_active), 0, "rx_active must remain 0 when was inactive");

    /* Reconfigure to 115200 bps (> 19200 bps fixed timings) */
    struct uart_config new_cfg_115200 = {
            .baudrate = 115200,
            .parity = UART_CFG_PARITY_NONE,
            .stop_bits = UART_CFG_STOP_BITS_1,
            .data_bits = UART_CFG_DATA_BITS_8,
    };
    ret = nmbs_z_serial_transport_reconfigure(&transport, &new_cfg_115200);
    zassert_equal(ret, 0, "Reconfigure to 115200 must succeed");
    zassert_equal(transport.t1_5_us, 750, "t1.5 must be fixed at 750 us for 115200 bps");
    zassert_equal(transport.t3_5_us, 1750, "t3.5 must be fixed at 1750 us for 115200 bps");

    nmbs_z_serial_transport_deinit(&transport);

#if defined(CONFIG_UART_INTERRUPT_DRIVEN)
    /* Test active RX state preservation with IRQ mode */
    reset_mock_re_tracker();
    nmbs_z_serial_transport_t irq_transport;
    nmbs_z_serial_transport_config_t irq_cfg = {
            .uart_dev = DEVICE_GET(mock_re_uart_dev),
            .baud_rate = 9600,
            .parity = UART_CFG_PARITY_NONE,
            .stop_bits = UART_CFG_STOP_BITS_1,
            .data_bits = UART_CFG_DATA_BITS_8,
            .de_mode = NMBS_Z_SERIAL_DE_NONE,
            .rx_mode = NMBS_Z_SERIAL_RX_IRQ,
    };

    ret = nmbs_z_serial_transport_init(&irq_transport, &irq_cfg, &p_conf);
    zassert_equal(ret, 0, "IRQ transport init must succeed");
    zassert_equal(atomic_get(&irq_transport.rx_active), 1, "rx_active must be 1 after IRQ init");
    zassert_true(mock_re_tracker.rx_enabled, "Hardware RX must be enabled");

    /* Reconfigure while RX is active */
    struct uart_config irq_new_cfg = {
            .baudrate = 57600,
            .parity = UART_CFG_PARITY_ODD,
            .stop_bits = UART_CFG_STOP_BITS_1,
            .data_bits = UART_CFG_DATA_BITS_8,
    };
    ret = nmbs_z_serial_transport_reconfigure(&irq_transport, &irq_new_cfg);
    zassert_equal(ret, 0, "Reconfigure active IRQ transport must succeed");

    /* Verify RX state is preserved (remains active) */
    zassert_equal(atomic_get(&irq_transport.rx_active), 1, "rx_active must remain 1 after reconfigure");
    zassert_true(mock_re_tracker.rx_enabled, "Hardware RX must still be enabled");
    zassert_equal(irq_transport.cfg.baud_rate, 57600, "Baud rate updated to 57600");
    zassert_equal(irq_transport.cfg.parity, UART_CFG_PARITY_ODD, "Parity updated to ODD");
    zassert_equal(irq_transport.t1_5_us, 750, "t1.5 must be 750 us for 57600 bps");
    zassert_equal(irq_transport.t3_5_us, 1750, "t3.5 must be 1750 us for 57600 bps");

    /* Now stop RX and reconfigure again: must preserve inactive state */
    nmbs_z_serial_transport_stop_rx(&irq_transport);
    zassert_equal(atomic_get(&irq_transport.rx_active), 0, "rx_active must be 0 after stop_rx");
    zassert_false(mock_re_tracker.rx_enabled, "Hardware RX must be disabled");

    irq_new_cfg.baudrate = 19200;
    ret = nmbs_z_serial_transport_reconfigure(&irq_transport, &irq_new_cfg);
    zassert_equal(ret, 0, "Reconfigure stopped transport must succeed");
    zassert_equal(atomic_get(&irq_transport.rx_active), 0, "rx_active must remain 0 when reconfigured while stopped");
    zassert_false(mock_re_tracker.rx_enabled, "Hardware RX must remain disabled");

    nmbs_z_serial_transport_deinit(&irq_transport);
#endif
}
```
